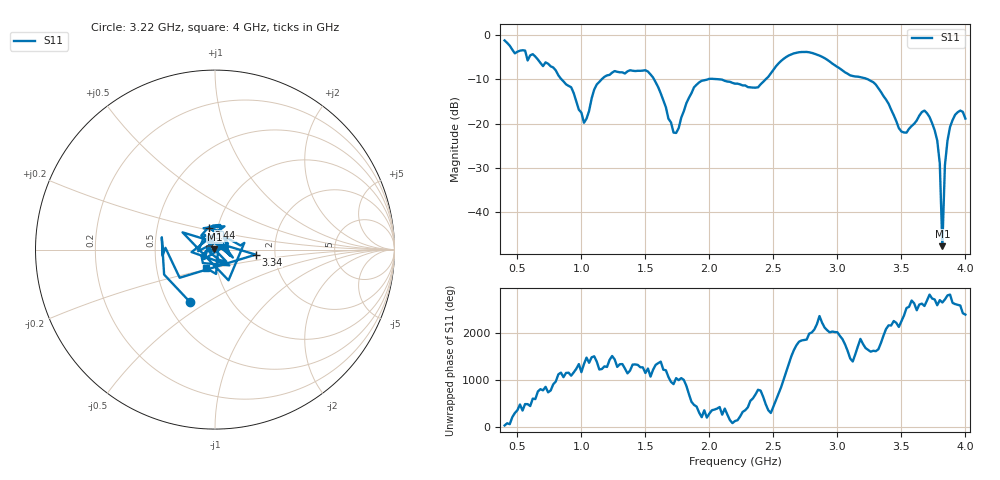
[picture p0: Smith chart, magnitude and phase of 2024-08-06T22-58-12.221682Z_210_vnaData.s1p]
!Created with skrf (http://scikit-rf.org).
# Hz S RI R 50.0
!freq ReS11 ImS11
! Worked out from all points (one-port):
!   181 points, 400 MHz to 4 GHz, reference 50 ohm
!   lowest |S11| = -47.7 dB at 3.82 GHz (marker M1), VSWR 1.01, Z = 49.7 + j0.245 ohm
!   |S11| at or under -10 dB: 1.568 GHz to 1.987 GHz (419.1 MHz wide, 23.6 % of centre); 2.084 GHz to 2.439 GHz (355.3 MHz wide, 15.7 % of centre); 3.239 GHz to end of sweep (the widest 3 of 4)
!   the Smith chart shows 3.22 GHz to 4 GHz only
!   S11 on the Smith chart (normalised r, x): 3.22 GHz: 0.65, -0.43; 3.34 GHz: 1.58, -0.09; 3.44 GHz: 0.91, +0.22; 4 GHz: 0.88, -0.18
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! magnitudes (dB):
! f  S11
! 400 MHz  -1.2
! 860 MHz  -10.4
! 920 MHz  -11.8
! 1.02 GHz  -19.8
! 1.12 GHz  -11.1
! 1.3 GHz  -8.4
! 1.52 GHz  -8.2
! 1.6 GHz  -11.8
! 1.72 GHz  -22.0
! 1.76 GHz  -21.0
! 1.92 GHz  -10.7
! 2.2 GHz  -11.0
! 2.38 GHz  -11.8
! 2.66 GHz  -4.1
! 3.1 GHz  -9.1
! 3.22 GHz  -9.8
! 3.34 GHz  -12.8
! 3.44 GHz  -18.1
! 3.5 GHz  -21.8
! 3.56 GHz  -21.2
! 3.68 GHz  -17.1
! 3.76 GHz  -21.5
! 3.8 GHz  -29.0
! 3.82 GHz  -47.7
! 3.84 GHz  -29.4
! 3.86 GHz  -23.9
! 3.92 GHz  -18.0
! 4 GHz  -18.9
